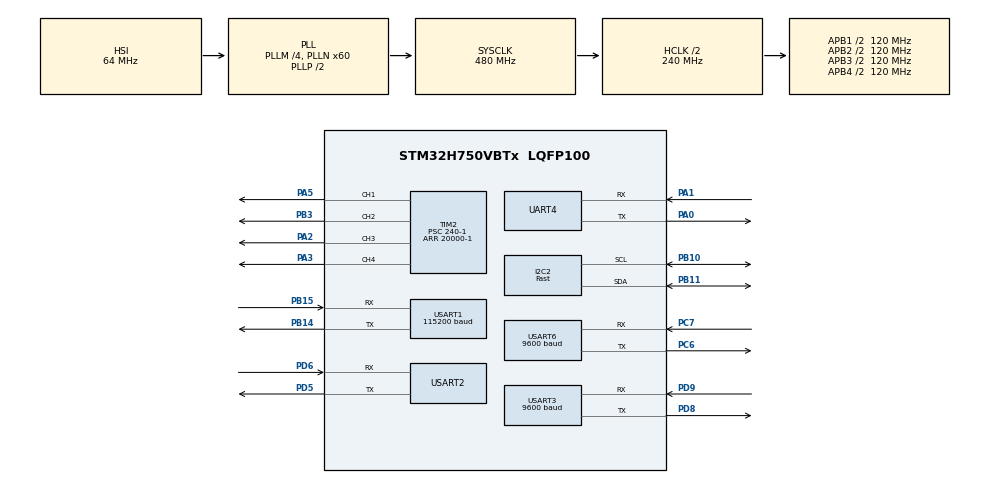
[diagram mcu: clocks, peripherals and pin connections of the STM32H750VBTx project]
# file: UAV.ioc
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CORTEX_M7.default_mode_Activation=1
Dma.Request0=USART1_RX
Dma.Request1=USART1_TX
Dma.Request2=UART4_RX
Dma.Request3=UART4_TX
Dma.Request4=USART3_RX
Dma.Request5=USART3_TX
Dma.Request6=USART6_RX
Dma.UART4_RX.2.Direction=DMA_PERIPH_TO_MEMORY
Dma.UART4_RX.2.EventEnable=DISABLE
Dma.UART4_RX.2.FIFOMode=DMA_FIFOMODE_DISABLE
Dma.UART4_RX.2.Instance=DMA1_Stream2
Dma.UART4_RX.2.MemDataAlignment=DMA_MDATAALIGN_BYTE
Dma.UART4_RX.2.MemInc=DMA_MINC_ENABLE
Dma.UART4_RX.2.Mode=DMA_CIRCULAR
Dma.UART4_RX.2.PeriphDataAlignment=DMA_PDATAALIGN_BYTE
Dma.UART4_RX.2.PeriphInc=DMA_PINC_DISABLE
Dma.UART4_RX.2.Polarity=HAL_DMAMUX_REQ_GEN_RISING
Dma.UART4_RX.2.Priority=DMA_PRIORITY_MEDIUM
Dma.UART4_RX.2.RequestNumber=1
Dma.UART4_RX.2.SignalID=NONE
Dma.UART4_RX.2.SyncEnable=DISABLE
Dma.UART4_RX.2.SyncPolarity=HAL_DMAMUX_SYNC_NO_EVENT
Dma.UART4_RX.2.SyncRequestNumber=1
Dma.UART4_RX.2.SyncSignalID=NONE
Dma.UART4_TX.3.Direction=DMA_MEMORY_TO_PERIPH
Dma.UART4_TX.3.EventEnable=DISABLE
Dma.UART4_TX.3.FIFOMode=DMA_FIFOMODE_DISABLE
Dma.UART4_TX.3.Instance=DMA1_Stream3
Dma.UART4_TX.3.MemDataAlignment=DMA_MDATAALIGN_BYTE
Dma.UART4_TX.3.MemInc=DMA_MINC_ENABLE
Dma.UART4_TX.3.Mode=DMA_NORMAL
Dma.UART4_TX.3.PeriphDataAlignment=DMA_PDATAALIGN_BYTE
Dma.UART4_TX.3.PeriphInc=DMA_PINC_DISABLE
Dma.UART4_TX.3.Polarity=HAL_DMAMUX_REQ_GEN_RISING
Dma.UART4_TX.3.Priority=DMA_PRIORITY_MEDIUM
Dma.UART4_TX.3.RequestNumber=1
Dma.UART4_TX.3.SignalID=NONE
Dma.UART4_TX.3.SyncEnable=DISABLE
Dma.UART4_TX.3.SyncPolarity=HAL_DMAMUX_SYNC_NO_EVENT
Dma.UART4_TX.3.SyncRequestNumber=1
Dma.UART4_TX.3.SyncSignalID=NONE
Dma.USART1_RX.0.Direction=DMA_PERIPH_TO_MEMORY
Dma.USART1_RX.0.EventEnable=DISABLE
Dma.USART1_RX.0.FIFOMode=DMA_FIFOMODE_DISABLE
Dma.USART1_RX.0.Instance=DMA1_Stream0
Dma.USART1_RX.0.MemDataAlignment=DMA_MDATAALIGN_BYTE
Dma.USART1_RX.0.MemInc=DMA_MINC_ENABLE
Dma.USART1_RX.0.Mode=DMA_CIRCULAR
Dma.USART1_RX.0.PeriphDataAlignment=DMA_PDATAALIGN_BYTE
Dma.USART1_RX.0.PeriphInc=DMA_PINC_DISABLE
Dma.USART1_RX.0.Polarity=HAL_DMAMUX_REQ_GEN_RISING
Dma.USART1_RX.0.Priority=DMA_PRIORITY_MEDIUM
Dma.USART1_RX.0.RequestNumber=1
Dma.USART1_RX.0.SignalID=NONE
Dma.USART1_RX.0.SyncEnable=DISABLE
Dma.USART1_RX.0.SyncPolarity=HAL_DMAMUX_SYNC_NO_EVENT
Dma.USART1_RX.0.SyncRequestNumber=1
Dma.USART1_RX.0.SyncSignalID=NONE
Dma.USART1_TX.1.Direction=DMA_MEMORY_TO_PERIPH
Dma.USART1_TX.1.EventEnable=DISABLE
Dma.USART1_TX.1.FIFOMode=DMA_FIFOMODE_DISABLE
Dma.USART1_TX.1.Instance=DMA1_Stream1
Dma.USART1_TX.1.MemDataAlignment=DMA_MDATAALIGN_BYTE
Dma.USART1_TX.1.MemInc=DMA_MINC_ENABLE
Dma.USART1_TX.1.Mode=DMA_NORMAL
Dma.USART1_TX.1.PeriphDataAlignment=DMA_PDATAALIGN_BYTE
Dma.USART1_TX.1.PeriphInc=DMA_PINC_DISABLE
Dma.USART1_TX.1.Polarity=HAL_DMAMUX_REQ_GEN_RISING
Dma.USART1_TX.1.Priority=DMA_PRIORITY_MEDIUM
Dma.USART1_TX.1.RequestNumber=1
Dma.USART1_TX.1.SignalID=NONE
Dma.USART1_TX.1.SyncEnable=DISABLE
Dma.USART1_TX.1.SyncPolarity=HAL_DMAMUX_SYNC_NO_EVENT
Dma.USART1_TX.1.SyncRequestNumber=1
Dma.USART1_TX.1.SyncSignalID=NONE
Dma.USART3_RX.4.Direction=DMA_PERIPH_TO_MEMORY
Dma.USART3_RX.4.EventEnable=DISABLE
Dma.USART3_RX.4.FIFOMode=DMA_FIFOMODE_DISABLE
Dma.USART3_RX.4.Instance=DMA1_Stream4
Dma.USART3_RX.4.MemDataAlignment=DMA_MDATAALIGN_BYTE
Dma.USART3_RX.4.MemInc=DMA_MINC_ENABLE
Dma.USART3_RX.4.Mode=DMA_NORMAL
Dma.USART3_RX.4.PeriphDataAlignment=DMA_PDATAALIGN_BYTE
Dma.USART3_RX.4.PeriphInc=DMA_PINC_DISABLE
Dma.USART3_RX.4.Polarity=HAL_DMAMUX_REQ_GEN_RISING
Dma.USART3_RX.4.Priority=DMA_PRIORITY_MEDIUM
Dma.USART3_RX.4.RequestNumber=1
Dma.USART3_RX.4.SignalID=NONE
Dma.USART3_RX.4.SyncEnable=DISABLE
Dma.USART3_RX.4.SyncPolarity=HAL_DMAMUX_SYNC_NO_EVENT
Dma.USART3_RX.4.SyncRequestNumber=1
Dma.USART3_RX.4.SyncSignalID=NONE
Dma.USART3_TX.5.Direction=DMA_MEMORY_TO_PERIPH
Dma.USART3_TX.5.EventEnable=DISABLE
Dma.USART3_TX.5.FIFOMode=DMA_FIFOMODE_DISABLE
Dma.USART3_TX.5.Instance=DMA1_Stream5
Dma.USART3_TX.5.MemDataAlignment=DMA_MDATAALIGN_BYTE
Dma.USART3_TX.5.MemInc=DMA_MINC_ENABLE
Dma.USART3_TX.5.Mode=DMA_NORMAL
Dma.USART3_TX.5.PeriphDataAlignment=DMA_PDATAALIGN_BYTE
Dma.USART3_TX.5.PeriphInc=DMA_PINC_DISABLE
Dma.USART3_TX.5.Polarity=HAL_DMAMUX_REQ_GEN_RISING
Dma.USART3_TX.5.Priority=DMA_PRIORITY_MEDIUM
Dma.USART3_TX.5.RequestNumber=1
Dma.USART3_TX.5.SignalID=NONE
Dma.USART3_TX.5.SyncEnable=DISABLE
Dma.USART3_TX.5.SyncPolarity=HAL_DMAMUX_SYNC_NO_EVENT
Dma.USART3_TX.5.SyncRequestNumber=1
Dma.USART3_TX.5.SyncSignalID=NONE
Dma.USART6_RX.6.Direction=DMA_PERIPH_TO_MEMORY
Dma.USART6_RX.6.EventEnable=DISABLE
Dma.USART6_RX.6.FIFOMode=DMA_FIFOMODE_DISABLE
Dma.USART6_RX.6.Instance=DMA1_Stream6
Dma.USART6_RX.6.MemDataAlignment=DMA_MDATAALIGN_BYTE
Dma.USART6_RX.6.MemInc=DMA_MINC_ENABLE
Dma.USART6_RX.6.Mode=DMA_NORMAL
Dma.USART6_RX.6.PeriphDataAlignment=DMA_PDATAALIGN_BYTE
Dma.USART6_RX.6.PeriphInc=DMA_PINC_DISABLE
Dma.USART6_RX.6.Polarity=HAL_DMAMUX_REQ_GEN_RISING
Dma.USART6_RX.6.Priority=DMA_PRIORITY_LOW
Dma.USART6_RX.6.RequestNumber=1
Dma.USART6_RX.6.SignalID=NONE
Dma.USART6_RX.6.SyncEnable=DISABLE
Dma.USART6_RX.6.SyncPolarity=HAL_DMAMUX_SYNC_NO_EVENT
Dma.USART6_RX.6.SyncRequestNumber=1
Dma.USART6_RX.6.SyncSignalID=NONE
I2C2.I2C_Speed_Mode=I2C_Fast
I2C2.Timing=0x00B03FDB
Mcu.Family=STM32H7
Mcu.Name=STM32H750VBTx
Mcu.Package=LQFP100
NVIC.DMA1_Stream0_IRQn=true\:0\:0\:false\:false\:true\:false\:true\:true
NVIC.DMA1_Stream1_IRQn=true\:0\:0\:false\:false\:true\:false\:true\:true
NVIC.DMA1_Stream2_IRQn=true\:0\:0\:false\:false\:true\:false\:true\:true
NVIC.DMA1_Stream3_IRQn=true\:0\:0\:false\:false\:true\:false\:true\:true
NVIC.DMA1_Stream4_IRQn=true\:0\:0\:false\:false\:true\:false\:true\:true
NVIC.DMA1_Stream5_IRQn=true\:0\:0\:false\:false\:true\:false\:true\:true
NVIC.DMA1_Stream6_IRQn=true\:0\:0\:false\:false\:true\:false\:true\:true
NVIC.PriorityGroup=NVIC_PRIORITYGROUP_2
NVIC.TIM6_DAC_IRQn=true\:2\:1\:true\:false\:true\:true\:true\:true
NVIC.TIM7_IRQn=true\:2\:0\:true\:false\:true\:true\:true\:true
NVIC.TIM8_UP_TIM13_IRQn=true\:0\:0\:false\:false\:true\:true\:true\:true
NVIC.UART4_IRQn=true\:1\:0\:true\:false\:true\:true\:true\:true
NVIC.USART1_IRQn=true\:1\:1\:true\:false\:true\:true\:true\:true
NVIC.USART2_IRQn=true\:3\:0\:true\:false\:true\:true\:true\:true
NVIC.USART3_IRQn=true\:1\:0\:true\:false\:true\:true\:true\:true
PA0.Mode=Asynchronous
PA0.Signal=UART4_TX
PA1.Mode=Asynchronous
PA1.Signal=UART4_RX
PA13\ (JTMS/SWDIO).Mode=Serial_Wire
PA13\ (JTMS/SWDIO).Signal=DEBUG_JTMS-SWDIO
PA14\ (JTCK/SWCLK).Mode=Serial_Wire
PA14\ (JTCK/SWCLK).Signal=DEBUG_JTCK-SWCLK
PA2.Signal=S_TIM2_CH3
PA3.Signal=S_TIM2_CH4
PA5.Signal=S_TIM2_CH1_ETR
PB10.Mode=I2C
PB10.Signal=I2C2_SCL
PB11.Mode=I2C
PB11.Signal=I2C2_SDA
PB14.GPIO_Speed=GPIO_SPEED_FREQ_HIGH
PB14.Mode=Asynchronous
PB14.Signal=USART1_TX
PB15.GPIO_Speed=GPIO_SPEED_FREQ_HIGH
PB15.Mode=Asynchronous
PB15.Signal=USART1_RX
PB3\ (JTDO/TRACESWO).Signal=S_TIM2_CH2
PC6.Mode=Asynchronous
PC6.Signal=USART6_TX
PC7.Mode=Asynchronous
PC7.Signal=USART6_RX
PD5.Mode=Asynchronous
PD5.Signal=USART2_TX
PD6.Mode=Asynchronous
PD6.Signal=USART2_RX
PD8.Mode=Asynchronous
PD8.Signal=USART3_TX
PD9.Mode=Asynchronous
PD9.Signal=USART3_RX
PH0-OSC_IN\ (PH0).Mode=HSE-External-Oscillator
PH0-OSC_IN\ (PH0).Signal=RCC_OSC_IN
PH1-OSC_OUT\ (PH1).Mode=HSE-External-Oscillator
PH1-OSC_OUT\ (PH1).Signal=RCC_OSC_OUT
ProjectManager.HeapSize=0x200
ProjectManager.StackSize=0x400
ProjectManager.TargetToolchain=MDK-ARM V5.32
RCC.ADCFreq_Value=129000000
RCC.APB1Freq_Value=120000000
RCC.APB2Freq_Value=120000000
RCC.APB3Freq_Value=120000000
RCC.APB4Freq_Value=120000000
RCC.CortexFreq_Value=480000000
RCC.D1PPRE=RCC_APB3_DIV2
RCC.D2PPRE1=RCC_APB1_DIV2
RCC.D2PPRE2=RCC_APB2_DIV2
RCC.D3PPRE=RCC_APB4_DIV2
RCC.DIVM1=4
RCC.DIVN1=60
RCC.HCLKFreq_Value=240000000
RCC.HPRE=RCC_HCLK_DIV2
RCC.HSE_VALUE=25000000
RCC.PLL2FRACN=0
RCC.PLL3FRACN=0
RCC.PLLFRACN=0
RCC.SYSCLKFreq_VALUE=480000000
RCC.SYSCLKSource=RCC_SYSCLKSOURCE_PLLCLK
RCC.USBFreq_Value=480000000
SH.S_TIM2_CH1_ETR.0=TIM2_CH1,PWM Generation1 CH1
SH.S_TIM2_CH2.0=TIM2_CH2,PWM Generation2 CH2
SH.S_TIM2_CH3.0=TIM2_CH3,PWM Generation3 CH3
SH.S_TIM2_CH4.0=TIM2_CH4,PWM Generation4 CH4
TIM13.Period=60000-1
TIM13.Prescaler=20000-1
TIM2.AutoReloadPreload=TIM_AUTORELOAD_PRELOAD_ENABLE
TIM2.Channel-PWM\ Generation1\ CH1=TIM_CHANNEL_1
TIM2.Channel-PWM\ Generation2\ CH2=TIM_CHANNEL_2
TIM2.Channel-PWM\ Generation3\ CH3=TIM_CHANNEL_3
TIM2.Channel-PWM\ Generation4\ CH4=TIM_CHANNEL_4
TIM2.Period=20000-1
TIM2.Prescaler=240-1
TIM6.AutoReloadPreload=TIM_AUTORELOAD_PRELOAD_ENABLE
TIM6.Period=2000-1
TIM6.Prescaler=1200-1
TIM7.AutoReloadPreload=TIM_AUTORELOAD_PRELOAD_ENABLE
TIM7.Period=1400-1
TIM7.Prescaler=1200-1
USART1.BaudRate=115200
USART1.VirtualMode-Asynchronous=VM_ASYNC
USART2.VirtualMode-Asynchronous=VM_ASYNC
USART3.BaudRate=9600
USART3.VirtualMode-Asynchronous=VM_ASYNC
USART6.BaudRate=9600
USART6.VirtualMode=VM_ASYNC
VP_MEMORYMAP_VS_MEMORYMAP.Mode=CurAppReg
VP_TIM13_VS_ClockSourceINT.Mode=Enable_Timer
VP_TIM2_VS_ClockSourceINT.Mode=Internal
VP_TIM6_VS_ClockSourceINT.Mode=Enable_Timer
VP_TIM7_VS_ClockSourceINT.Mode=Enable_Timer
board=custom

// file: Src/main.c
/* USER CODE BEGIN Header */
/**
  ******************************************************************************
  * @file           : main.c
  * @brief          : Main program body
  ******************************************************************************
  * @attention
  *
  * Copyright (c) 2024 STMicroelectronics.
  * All rights reserved.
  *
  * This software is licensed under terms that can be found in the LICENSE file
  * in the root directory of this software component.
  * If no LICENSE file comes with this software, it is provided AS-IS.
  *
  ******************************************************************************
  */
/* USER CODE END Header */
#include "main.h"
#include "dma.h"
#include "i2c.h"
#include "memorymap.h"
#include "tim.h"
#include "usart.h"
#include "gpio.h"

/* USER CODE BEGIN Includes */
 #include"Data.h"
 #include "Motor.h"
 #include "State.h"
 #include "BMP280.h"
 #include "Remote.h"
 #include "stdio.h"
 #include "Control.h"
/* USER CODE END Includes */

void SystemClock_Config(void);
static void MPU_Config(void);

int main(void)
{

  /* MPU Configuration--------------------------------------------------------*/
  MPU_Config();

  /* MCU Configuration--------------------------------------------------------*/

  /* Reset of all peripherals, Initializes the Flash interface and the Systick. */
  HAL_Init();

  /* USER CODE BEGIN Init */
  Data_wit_Init();
  /* USER CODE END Init */

  /* Configure the system clock */
  SystemClock_Config();

  /* Initialize all configured peripherals */
  MX_GPIO_Init();
  MX_DMA_Init();
  MX_TIM2_Init();
  MX_TIM6_Init();
  MX_UART4_Init();
  MX_USART1_UART_Init();
  MX_TIM7_Init();
  MX_USART2_UART_Init();
  MX_I2C2_Init();
  MX_TIM13_Init();
  MX_USART3_UART_Init();
  MX_USART6_UART_Init();
  /* USER CODE BEGIN 2 */
  extern unsigned char ucTemp;
  extern unsigned char ch;
  extern unsigned char och;
  extern uint8_t  rxBuffer[BUFFER_SIZE];
  extern uint8_t rxIndex;
  Bmp_Init();
  HAL_UART_Receive_DMA(&huart1,&ucTemp,1);//启动dma接受usart1
  HAL_UART_Receive_DMA(&huart4, &ch, 1);
  HAL_UART_Receive_DMA(&huart6, &och, 1);
  HAL_TIM_Base_Start_IT(&htim6);//接收传感器数�???
  HAL_UART_Receive_DMA(&huart3, &rxBuffer[rxIndex], 1);
  Motor_init();//电机与电调初始化 （最后）
  /* USER CODE END 2 */

  /* Infinite loop */
  /* USER CODE BEGIN WHILE */
  while (1)
  {

     State_loop();
    /* USER CODE END WHILE */

    /* USER CODE BEGIN 3 */
    //
   // printf("%lf,%lf\n",height,t_height);
    //printf("%lf,%lf,%lf\n",Coor.x,Coor.y,power);
    //printf("coorxpid:%lf,%lf,%lf\n",PID_coordx.kp,PID_coordx.ki,PID_coordx.kd);
    //("coorypid:%lf,%lf,%lf\n",PID_coordy.kp,PID_coordy.ki,PID_coordy.kd);
      // printf("Ratexpid:%lf,%lf,%lf\n",PID_ratex.kp,PID_ratex.ki,PID_ratex.kd);
       //printf("Rateypid:%lf,%lf,%lf\n",PID_ratey.kp,PID_ratey.ki,PID_ratey.kd);
     // printf("heightpid:%lf,%lf,%lf\n",PID_height.kp,PID_height.ki,PID_height.kd);

	  // printf("%d,%d,%d,%d\n",__HAL_TIM_GET_COMPARE(&htim2, TIM_CHANNEL_1),
     //__HAL_TIM_GET_COMPARE(&htim2, TIM_CHANNEL_2),__HAL_TIM_GET_COMPARE(&htim2, TIM_CHANNEL_3),
     //__HAL_TIM_GET_COMPARE(&htim2, TIM_CHANNEL_4));

  }
  /* USER CODE END 3 */
}

void SystemClock_Config(void)
{
  RCC_OscInitTypeDef RCC_OscInitStruct = {0};
  RCC_ClkInitTypeDef RCC_ClkInitStruct = {0};

  /** Supply configuration update enable
  */
  HAL_PWREx_ConfigSupply(PWR_LDO_SUPPLY);

  /** Configure the main internal regulator output voltage
  */
  __HAL_PWR_VOLTAGESCALING_CONFIG(PWR_REGULATOR_VOLTAGE_SCALE1);

  while(!__HAL_PWR_GET_FLAG(PWR_FLAG_VOSRDY)) {}

  __HAL_RCC_SYSCFG_CLK_ENABLE();
  __HAL_PWR_VOLTAGESCALING_CONFIG(PWR_REGULATOR_VOLTAGE_SCALE0);

  while(!__HAL_PWR_GET_FLAG(PWR_FLAG_VOSRDY)) {}

  /** Initializes the RCC Oscillators according to the specified parameters
  * in the RCC_OscInitTypeDef structure.
  */
  RCC_OscInitStruct.OscillatorType = RCC_OSCILLATORTYPE_HSI;
  RCC_OscInitStruct.HSIState = RCC_HSI_DIV1;
  RCC_OscInitStruct.HSICalibrationValue = RCC_HSICALIBRATION_DEFAULT;
  RCC_OscInitStruct.PLL.PLLState = RCC_PLL_ON;
  RCC_OscInitStruct.PLL.PLLSource = RCC_PLLSOURCE_HSI;
  RCC_OscInitStruct.PLL.PLLM = 4;
  RCC_OscInitStruct.PLL.PLLN = 60;
  RCC_OscInitStruct.PLL.PLLP = 2;
  RCC_OscInitStruct.PLL.PLLQ = 2;
  RCC_OscInitStruct.PLL.PLLR = 2;
  RCC_OscInitStruct.PLL.PLLRGE = RCC_PLL1VCIRANGE_3;
  RCC_OscInitStruct.PLL.PLLVCOSEL = RCC_PLL1VCOWIDE;
  RCC_OscInitStruct.PLL.PLLFRACN = 0;
  if (HAL_RCC_OscConfig(&RCC_OscInitStruct) != HAL_OK)
  {
    Error_Handler();
  }

  /** Initializes the CPU, AHB and APB buses clocks
  */
  RCC_ClkInitStruct.ClockType = RCC_CLOCKTYPE_HCLK|RCC_CLOCKTYPE_SYSCLK
                              |RCC_CLOCKTYPE_PCLK1|RCC_CLOCKTYPE_PCLK2
                              |RCC_CLOCKTYPE_D3PCLK1|RCC_CLOCKTYPE_D1PCLK1;
  RCC_ClkInitStruct.SYSCLKSource = RCC_SYSCLKSOURCE_PLLCLK;
  RCC_ClkInitStruct.SYSCLKDivider = RCC_SYSCLK_DIV1;
  RCC_ClkInitStruct.AHBCLKDivider = RCC_HCLK_DIV2;
  RCC_ClkInitStruct.APB3CLKDivider = RCC_APB3_DIV2;
  RCC_ClkInitStruct.APB1CLKDivider = RCC_APB1_DIV2;
  RCC_ClkInitStruct.APB2CLKDivider = RCC_APB2_DIV2;
  RCC_ClkInitStruct.APB4CLKDivider = RCC_APB4_DIV2;

  if (HAL_RCC_ClockConfig(&RCC_ClkInitStruct, FLASH_LATENCY_4) != HAL_OK)
  {
    Error_Handler();
  }
}

 /* MPU Configuration */

void MPU_Config(void)
{
  MPU_Region_InitTypeDef MPU_InitStruct = {0};

  /* Disables the MPU */
  HAL_MPU_Disable();

  /** Initializes and configures the Region and the memory to be protected
  */
  MPU_InitStruct.Enable = MPU_REGION_ENABLE;
  MPU_InitStruct.Number = MPU_REGION_NUMBER0;
  MPU_InitStruct.BaseAddress = 0x0;
  MPU_InitStruct.Size = MPU_REGION_SIZE_4GB;
  MPU_InitStruct.SubRegionDisable = 0x87;
  MPU_InitStruct.TypeExtField = MPU_TEX_LEVEL0;
  MPU_InitStruct.AccessPermission = MPU_REGION_NO_ACCESS;
  MPU_InitStruct.DisableExec = MPU_INSTRUCTION_ACCESS_DISABLE;
  MPU_InitStruct.IsShareable = MPU_ACCESS_SHAREABLE;
  MPU_InitStruct.IsCacheable = MPU_ACCESS_NOT_CACHEABLE;
  MPU_InitStruct.IsBufferable = MPU_ACCESS_NOT_BUFFERABLE;

  HAL_MPU_ConfigRegion(&MPU_InitStruct);
  /* Enables the MPU */
  HAL_MPU_Enable(MPU_PRIVILEGED_DEFAULT);

}

void Error_Handler(void)
{
  __disable_irq();
  while (1)
  {
  }
}
